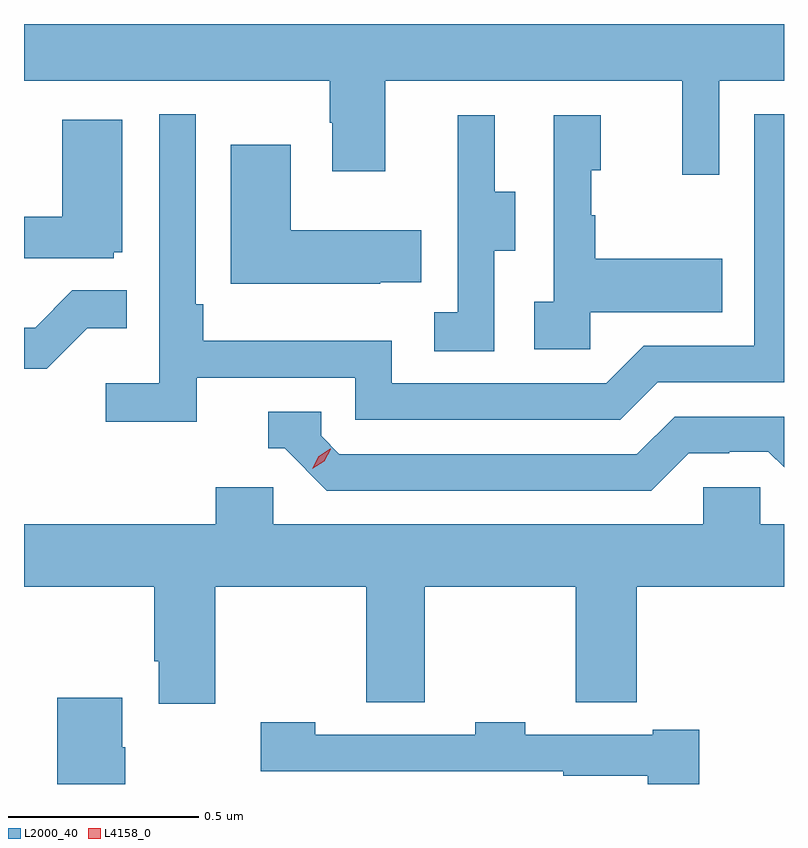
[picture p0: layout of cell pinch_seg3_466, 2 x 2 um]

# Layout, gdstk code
import gdstk
lib = gdstk.Library(unit=1e-6, precision=1e-09)
def P(c, l, *ps):  # polygons
    for p in ps: c.add(gdstk.Polygon(p, *l))
L2000_40 = (2000, 40)
L4158_0 = (4158, 0)

pinch_seg3_466 = lib.new_cell('pinch_seg3_466')
P(pinch_seg3_466, L2000_40, [(893.679,672.944),(893.85,672.944),(893.85,673.093),(891.85,673.093),(891.85,672.944),(892.654,672.944),(892.654,672.833),(892.661,672.833),(892.661,672.705),(892.801,672.705),(892.801,672.944),(893.582,672.944),(893.582,672.696),(893.679,672.696)],
  [(892.304,672.162),(892.722,672.162),(892.722,672.051),(893.419,672.051),(893.518,672.15),(893.85,672.15),(893.85,672.855),(893.772,672.855),(893.772,672.246),(893.481,672.246),(893.382,672.147),(892.818,672.147),(892.818,672.259),(892.322,672.259),(892.322,672.355),(892.302,672.355),(892.302,672.856),(892.206,672.856),(892.206,672.148),(892.065,672.148),(892.065,672.046),(892.304,672.046)],
  [(893.088,672.496),(893.143,672.496),(893.143,672.651),(893.089,672.651),(893.089,672.853),(892.991,672.853),(892.991,672.639),(892.992,672.639),(892.992,672.335),(892.929,672.335),(892.929,672.232),(893.088,672.232)],
  [(893.34,672.335),(893.687,672.335),(893.687,672.475),(893.353,672.475),(893.353,672.59),(893.343,672.59),(893.343,672.708),(893.368,672.708),(893.368,672.853),(893.244,672.853),(893.244,672.362),(893.193,672.362),(893.193,672.237),(893.34,672.237)],
  [(892.086,672.492),(892.108,672.492),(892.108,672.841),(891.95,672.841),(891.95,672.586),(891.851,672.586),(891.851,672.573),(891.85,672.573),(891.85,672.477),(892.086,672.477)],
  [(892.787,672.413),(892.895,672.413),(892.895,672.55),(892.552,672.55),(892.552,672.775),(892.394,672.775),(892.394,672.41),(892.787,672.41)],
  [(892.017,672.293),(892.121,672.293),(892.121,672.392),(891.977,672.392),(891.879,672.294),(891.85,672.294),(891.85,672.186),(891.91,672.186)],
  [(893.599,671.964),(893.706,671.964),(893.706,671.967),(893.809,671.967),(893.85,671.926),(893.85,672.06),(893.562,672.06),(893.463,671.961),(892.68,671.961),(892.632,672.009),(892.632,672.072),(892.493,672.072),(892.493,671.976),(892.536,671.976),(892.647,671.865),(893.5,671.865)],
  [(892.75,671.308),(892.904,671.308),(892.904,671.612),(893.302,671.612),(893.302,671.308),(893.462,671.308),(893.462,671.612),(893.85,671.612),(893.85,671.776),(893.787,671.776),(893.787,671.874),(893.637,671.874),(893.637,671.776),(892.506,671.776),(892.506,671.874),(892.355,671.874),(892.355,671.776),(891.85,671.776),(891.85,671.612),(892.193,671.612),(892.193,671.416),(892.205,671.416),(892.205,671.304),(892.353,671.304),(892.353,671.612),(892.75,671.612)],
  [(892.116,671.19),(892.108,671.19),(892.108,671.32),(891.938,671.32),(891.938,671.093),(892.116,671.093)],
  [(893.627,671.236),(893.504,671.236),(893.504,671.223),(893.169,671.223),(893.169,671.256),(893.037,671.256),(893.037,671.223),(892.617,671.223),(892.617,671.256),(892.473,671.256),(892.473,671.127),(893.269,671.127),(893.269,671.115),(893.491,671.115),(893.491,671.093),(893.627,671.093)])
P(pinch_seg3_466, L4158_0, [(892.609,671.923),(892.609,671.923),(892.625,671.956),(892.656,671.975),(892.657,671.975),(892.657,671.974),(892.64,671.942),(892.609,671.923)])

lib.write_gds('pinch_seg3_466.gds')
